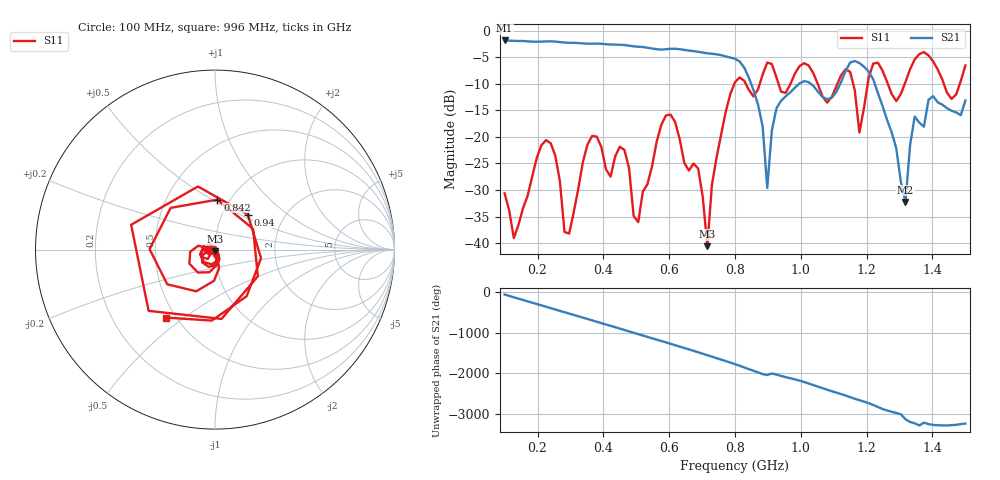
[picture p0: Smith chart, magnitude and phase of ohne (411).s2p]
! NanoVNA-App
! Date: 2025-09-25 14:23:59
! Start: 100MHz Stop: 1,5GHz Points: 101
! S-Parameter data: F S11 S21 S12 S22
# Hz S RI R 50
!  Frequency  S11_Real  S11_Imag  S21_Real  S21_Imag  S12_Real  S12_Imag  S22_Real  S22_Imag
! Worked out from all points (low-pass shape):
!   101 points, 100 MHz to 1.5 GHz, reference 50 ohm
!   highest |S21| = -1.79 dB at 100 MHz (marker M1); lowest = -32.2 dB at 1.318 GHz (marker M2)
!   |S21| within 3 dB of the highest: start of sweep to 771 MHz
!   lowest |S11| = -40.6 dB at 716 MHz (marker M3), VSWR 1.02, Z = 49.8 - j0.916 ohm
!   |S11| at or under -10 dB: start of sweep to 797.8 MHz; 833 MHz to 875.1 MHz (42.09 MHz wide, 4.93 % of centre); 1.052 GHz to 1.111 GHz (59.42 MHz wide, 5.5 % of centre)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
!   S12 and S22 are empty: the file has one direction only
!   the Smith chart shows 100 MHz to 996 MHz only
!   S11 on the Smith chart (normalised r, x): 100 MHz: 0.94, -0.01; 842 MHz: 0.88, +0.53; 940 MHz: 1.32, +0.55; 996 MHz: 0.45, -0.43
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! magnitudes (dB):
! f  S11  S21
! 100 MHz  -30.6  -1.8
! 128 MHz  -39.1  -1.9
! 226 MHz  -20.6  -2.0
! 296 MHz  -38.2  -2.2
! 338 MHz  -24.7  -2.4
! 464 MHz  -22.4  -2.7
! 506 MHz  -36.1  -3.0
! 576 MHz  -17.7  -3.5
! 688 MHz  -25.9  -3.9
! 716 MHz  -40.6  -4.2
! 800 MHz  -9.7  -5.3
! 842 MHz  -11.1  -8.8
! 898 MHz  -6.0  -29.6
! 940 MHz  -11.5  -13.2
! 996 MHz  -6.6  -9.9
! 1.038 GHz  -8.0  -10.4
! 1.178 GHz  -19.2  -6.1
! 1.22 GHz  -6.2  -9.1
! 1.276 GHz  -11.9  -19.1
! 1.318 GHz  -9.6  -32.2
! 1.346 GHz  -5.4  -16.1
! 1.5 GHz  -6.5  -13.1
